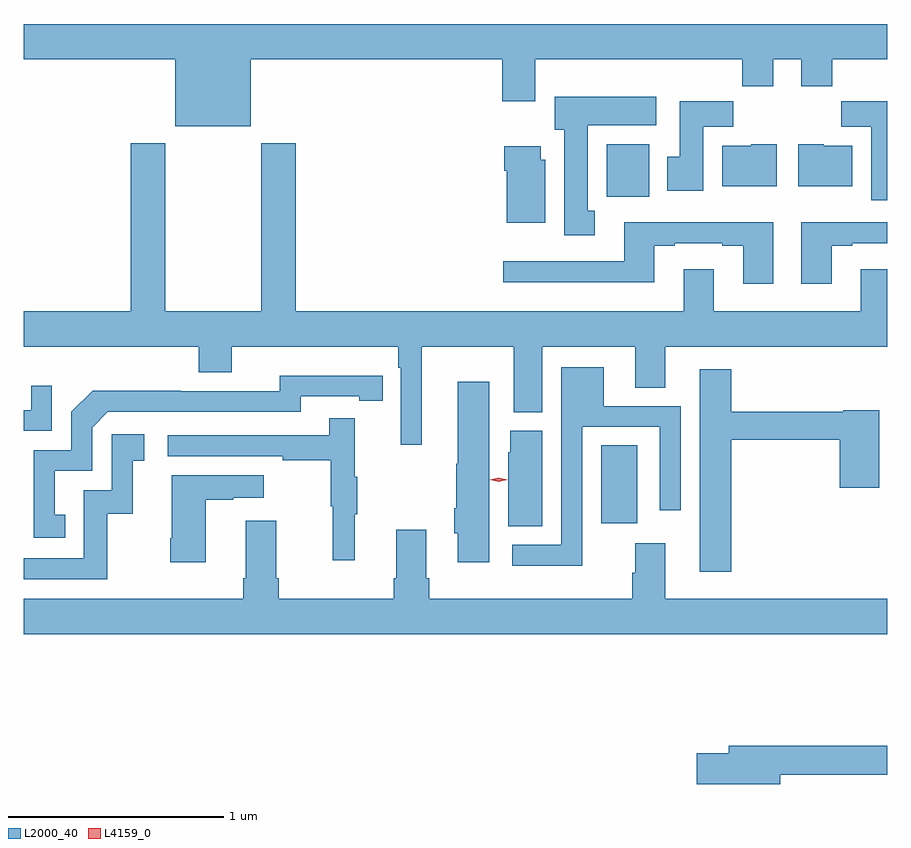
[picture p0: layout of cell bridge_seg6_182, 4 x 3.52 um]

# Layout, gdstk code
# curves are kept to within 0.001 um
import gdstk
lib = gdstk.Library(unit=1e-6, precision=1e-09)
def R(c, l, rs):  # rectangles x0, y0, x1, y1
    for r in rs: c.add(gdstk.rectangle(r[:2], r[2:], *l))
def P(c, l, *ps):  # polygons
    for p in ps: c.add(gdstk.Polygon(p, *l))
L2000_40 = (2000, 40)
L4159_0 = (4159, 0)

bridge_seg6_182 = lib.new_cell('bridge_seg6_182')
R(bridge_seg6_182, L2000_40, [(291.212,971.826,291.379,972.188), (291.236,973.34,291.433,973.582)])
P(bridge_seg6_182, L2000_40, [(289.588,973.976),(290.753,973.976),(290.753,973.782),(290.905,973.782),(290.905,973.976),(291.865,973.976),(291.865,973.852),(292.009,973.852),(292.009,973.976),(292.139,973.976),(292.139,973.852),(292.283,973.852),(292.283,973.976),(292.536,973.976),(292.536,974.14),(288.536,974.14),(288.536,973.976),(289.238,973.976),(289.238,973.667),(289.588,973.667)],
  [(291.181,973.274),(291.148,973.274),(291.148,973.67),(291.466,973.67),(291.466,973.804),(290.996,973.804),(290.996,973.65),(291.041,973.65),(291.041,973.161),(291.181,973.161)],
  [(291.685,973.664),(291.824,973.664),(291.824,973.783),(291.575,973.783),(291.575,973.524),(291.518,973.524),(291.518,973.368),(291.685,973.368)],
  [(292.536,973.783),(292.324,973.783),(292.324,973.664),(292.463,973.664),(292.463,973.323),(292.536,973.323)],
  [(290.38,972.644),(290.807,972.644),(290.807,972.34),(290.938,972.34),(290.938,972.644),(291.368,972.644),(291.368,972.454),(291.508,972.454),(291.508,972.644),(292.536,972.644),(292.536,973.003),(292.415,973.003),(292.415,972.808),(291.733,972.808),(291.733,973.003),(291.593,973.003),(291.593,972.808),(289.796,972.808),(289.796,973.588),(289.636,973.588),(289.636,972.808),(289.191,972.808),(289.191,973.588),(289.031,973.588),(289.031,972.808),(288.536,972.808),(288.536,972.644),(289.346,972.644),(289.346,972.527),(289.498,972.527),(289.498,972.644),(290.27,972.644),(290.27,972.548),(290.283,972.548),(290.283,972.189),(290.38,972.189)],
  [(292.024,973.582),(291.906,973.582),(291.906,973.576),(291.773,973.576),(291.773,973.388),(292.024,973.388)],
  [(292.375,973.576),(292.242,973.576),(292.242,973.582),(292.124,973.582),(292.124,973.388),(292.375,973.388)],
  [(290.953,973.512),(290.932,973.512),(290.932,973.573),(290.762,973.573),(290.762,973.46),(290.774,973.46),(290.774,973.22),(290.953,973.22)],
  [(292.279,973.113),(292.375,973.113),(292.375,973.125),(292.536,973.125),(292.536,973.221),(292.367,973.221),(292.367,973.222),(292.139,973.222),(292.139,972.936),(292.279,972.936)],
  [(292.009,973.222),(291.317,973.222),(291.317,973.041),(290.757,973.041),(290.757,972.944),(291.457,972.944),(291.457,973.113),(291.553,973.113),(291.553,973.125),(291.773,973.125),(291.773,973.113),(291.869,973.113),(291.869,972.936),(292.009,972.936)],
  [(291.123,972.273),(291.483,972.273),(291.483,971.886),(291.579,971.886),(291.579,972.369),(291.223,972.369),(291.223,972.55),(291.027,972.55),(291.027,971.727),(290.799,971.727),(290.799,971.63),(291.123,971.63)],
  [(291.815,972.214),(292.316,972.214),(292.316,971.991),(292.499,971.991),(292.499,972.351),(292.332,972.351),(292.332,972.343),(291.815,972.343),(291.815,972.541),(291.668,972.541),(291.668,971.601),(291.815,971.601)],
  [(288.728,971.865),(288.679,971.865),(288.679,972.069),(288.852,972.069),(288.852,972.27),(288.924,972.342),(289.818,972.342),(289.818,972.414),(290.09,972.414),(290.09,972.394),(290.198,972.394),(290.198,972.51),(289.722,972.511),(289.722,972.438),(289.262,972.438),(289.262,972.44),(288.854,972.44),(288.756,972.342),(288.756,972.165),(288.582,972.165),(288.582,971.76),(288.728,971.76)],
  [(290.692,972.481),(290.546,972.481),(290.546,972.101),(290.539,972.101),(290.539,971.895),(290.531,971.895),(290.531,971.781),(290.546,971.781),(290.546,971.646),(290.692,971.646)],
  [(288.666,972.463),(288.569,972.463),(288.569,972.351),(288.536,972.351),(288.536,972.255),(288.666,972.255)],
  [(290.069,971.867),(290.08,971.867),(290.08,972.041),(290.069,972.041),(290.069,972.313),(289.951,972.313),(289.951,972.234),(289.203,972.234),(289.203,972.138),(289.735,972.138),(289.735,972.118),(289.959,972.118),(289.959,971.904),(289.966,971.904),(289.966,971.655),(290.069,971.655)],
  [(290.938,972.255),(290.789,972.255),(290.789,972.156),(290.78,972.156),(290.78,971.812),(290.938,971.812)],
  [(288.922,971.871),(289.04,971.871),(289.04,972.117),(289.093,972.117),(289.093,972.238),(288.942,972.238),(288.942,971.979),(288.813,971.979),(288.813,971.664),(288.536,971.664),(288.536,971.568),(288.922,971.568)],
  [(289.378,971.935),(289.505,971.935),(289.505,971.945),(289.648,971.945),(289.648,972.049),(289.22,972.049),(289.22,971.758),(289.213,971.758),(289.213,971.646),(289.378,971.646)],
  [(292.536,971.476),(291.508,971.476),(291.508,971.734),(291.368,971.734),(291.368,971.597),(291.356,971.597),(291.356,971.476),(290.414,971.476),(290.414,971.572),(290.401,971.572),(290.401,971.797),(290.261,971.797),(290.261,971.572),(290.249,971.572),(290.249,971.476),(289.718,971.476),(289.718,971.572),(289.705,971.572),(289.705,971.839),(289.565,971.839),(289.565,971.572),(289.553,971.572),(289.553,971.476),(288.536,971.476),(288.536,971.312),(292.536,971.312)],
  [(292.042,970.66),(292.536,970.66),(292.536,970.796),(291.803,970.796),(291.803,970.76),(291.654,970.76),(291.654,970.618),(292.042,970.618)])
P(bridge_seg6_182, L4159_0, [(290.736,972.018),(290.695,972.027),(290.695,972.027),(290.695,972.027),(290.736,972.038),(290.776,972.029),(290.776,972.028),(290.776,972.028)])

lib.write_gds('bridge_seg6_182.gds')
